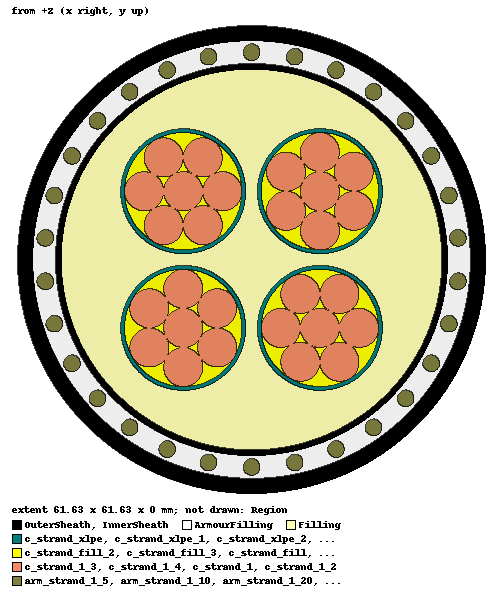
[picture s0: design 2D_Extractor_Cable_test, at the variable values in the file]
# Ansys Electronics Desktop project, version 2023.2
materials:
  vacuum: permittivity=1
  copper: permeability=0.999991 conductivity=58000000
  plastic_pe_cable_grade: permittivity=2.09762 permeability=1 conductivity=1.40573e-16 dielectric_loss_tangent=0.000264575
  plastic_pp_carbon_fiber: permittivity=1 permeability=1 conductivity=0.0003161
  PVC plastic: permittivity=2.7 dielectric_loss_tangent=0.007
  steel_stainless: conductivity=1100000
  air: permittivity=1.0006 permeability=1.0000004
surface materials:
  Steel-oxidised-surface

design 2D_Extractor_Cable_test (2D Extractor, Open, model units mm)
options: LumpedLength=100m RiseTime=1ns DistribLengthUnits=meter Calculate_Lossy_Dielectrics
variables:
  n_cores = 4
  n_strands_core = 6
  c_strand_radius = 2.575mm
  c_strand_xy_coord = 9mm
  filling_radius = 25.066695mm
  inner_sheath_radius = 25.816695mm
  armour_radius = 28.816695mm
  outer_sheath_radius = 30.816695mm
  armour_centre_pos = 27.316695mm
  arm_strand_rad = 1.3mm
  n_arm_strands = 30
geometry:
  coordinate_system CS_c_strand_1 = origin=(c_strand_xy_coord, c_strand_xy_coord, 0mm) x=(1mm, 0mm, 0mm) y=(0mm, 1mm, 0mm)
  c_strand_1 [copper] = circle(normal=Z, centre=(0mm, 0mm, 0mm), radius=c_strand_radius) in CS_c_strand_1
  c_strand_1_1 = c_strand_1.duplicate_along_line(step=(0mm, 2.0*c_strand_radius, 0mm), total=2) in CS_c_strand_1
  c_strand_1_1_1..c_strand_1_1_5 = c_strand_1_1.duplicate_around_axis(axis=Z, angle=60deg, total=6) in CS_c_strand_1
  c_strand_1.unite(c_strand_1_1, c_strand_1_1_1..c_strand_1_1_5)
  c_strand_fill [plastic_pp_carbon_fiber] = circle(normal=Z, centre=(0mm, 0mm, 0mm), radius=3*c_strand_radius) in CS_c_strand_1
  c_strand_xlpe [plastic_pe_cable_grade] = circle(normal=Z, centre=(0mm, 0mm, 0mm), radius=3*c_strand_radius+0.5mm) in CS_c_strand_1
  c_strand_1_2, c_strand_1_3, c_strand_1_4 [copper] = c_strand_1.duplicate_around_axis(axis=Z, angle=90deg, total=4)
  c_strand_fill_1, c_strand_fill_2, c_strand_fill_3 [plastic_pp_carbon_fiber] = c_strand_fill.duplicate_around_axis(axis=Z, angle=90deg, total=4)
  c_strand_xlpe_1, c_strand_xlpe_2, c_strand_xlpe_3 [plastic_pe_cable_grade] = c_strand_xlpe.duplicate_around_axis(axis=Z, angle=90deg, total=4)
  Filling [plastic_pp_carbon_fiber] = circle(normal=Z, centre=(0mm, 0mm, 0mm), radius=filling_radius)
  InnerSheath [PVC plastic] = circle(normal=Z, centre=(0mm, 0mm, 0mm), radius=inner_sheath_radius)
  ArmourFilling [plastic_pp_carbon_fiber] = circle(normal=Z, centre=(0mm, 0mm, 0mm), radius=armour_radius)
  OuterSheath [PVC plastic] = circle(normal=Z, centre=(0mm, 0mm, 0mm), radius=outer_sheath_radius)
  arm_strand_1 [steel_stainless] = circle(normal=Z, centre=(0mm, armour_centre_pos, 0mm), radius=1.1mm)
  arm_strand_1_1..arm_strand_1_29 [steel_stainless] = arm_strand_1.duplicate_around_axis(axis=Z, angle=360deg/n_arm_strands, total=n_arm_strands)
  Region [vacuum] = region(percentage_offset: +X=500, -X=500, +Y=500, -Y=500, +Z=0, -Z=0)
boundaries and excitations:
  C11: SignalLine Objects=c_strand_1 SolveOption=SolveInside Thickness=0.18392857um
  C12: SignalLine Objects=c_strand_1_2 SolveOption=SolveInside Thickness=0.18392857um
  C13: SignalLine Objects=c_strand_1_3 SolveOption=SolveInside Thickness=0.18392857um
  C14: SignalLine Objects=c_strand_1_4 SolveOption=SolveInside Thickness=0.18392857um
  gnd: ReferenceGround Objects=[arm_strand_1, arm_strand_1_1..arm_strand_1_29] SolveOption=SolveInside Thickness=0.55um
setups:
  MySetupAuto: 2DMatrix AdaptiveFreq=1GHz SaveFields CGDataBlock{MaxPass=10 MinPass=1 MinConvPass=1 PerError=1 PerRefine=30 Included UseParamConv PerErrorParamConv=1 UseLossConv} RLDataBlock{MaxPass=10 MinPass=1 MinConvPass=1 PerError=1 PerRefine=30 Included UseParamConv PerErrorParamConv=1 UseLossConv}
    sweep sweep1: 0Hz to 3MHz, log, 1 per decade; Type=Interpolating InterpTolerance=0.5 InterpMaxSolns=50 MinSolvedFreq=100000
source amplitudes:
  C11: CG Fields 1V 0deg
  C12, C13, C14: CG Fields 0V 0deg
  C11: RL Fields 1A 0deg
  C12, C13, C14: RL Fields 0A 0deg
